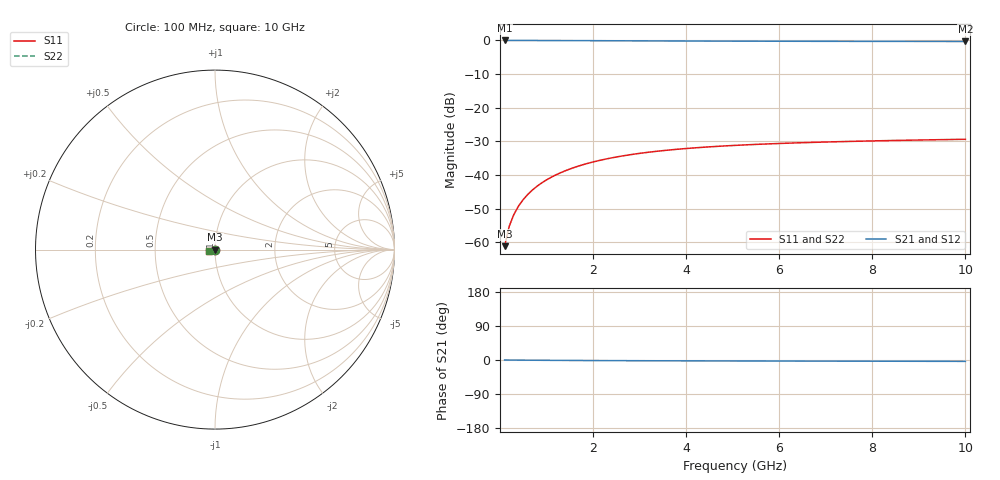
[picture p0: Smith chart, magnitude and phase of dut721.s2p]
! Touchstone file exported from HFSS 2024.1.0
!  File:  C:/UserFiles/LocalFiles/RDL_TSV_Batchsim/temp_TSV1_721_1779868303.aedt
!  Generated:  03:56:17 PM May 27, 2026
!  Design:  TSV1
!  Project:  temp_TSV1_721_1779868303
!  Setup:  Setup1
!  Solution:  Sweep
! Variables:
!  dtsv = 9.73um
!  hbump = 3um
!  htsv = 54.42um
!  lrdl = 252.1521522um
!  p = 40
!  p1 = 40.71um
!  t = 500um
!  trdl = 3um
!  wrdl = 24.89489489um
# GHz S MA R 50.000000
! Terminal data exported
! Port[1] = TSV22_T1
! Port[2] = TSV22_T2
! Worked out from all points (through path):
!   100 points, 100 MHz to 10 GHz, reference 50 ohm
!   highest |S21| = 0.00 dB at 100 MHz (marker M1); lowest = -0.3 dB at 10 GHz (marker M2)
!   lowest |S11| = -61.1 dB at 100 MHz (marker M3), VSWR 1.00, Z = 50 - j0.0876 ohm
!   |S11| at or under -10 dB: start of sweep to end of sweep
!   |S22| runs from -61.1 to -29.4 dB; largest |S21 - S12| = 4.2e-15
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0.1  0.0008815 -83.3  0.9998 -0.1  0.9998 -0.1  0.0008815 -83.3
! Gamma 0 0 0 0
! Port Impedance 50 0 50 0
0.2  0.001748 -89.0  0.9998 -0.2  0.9998 -0.2  0.001748 -89.0
0.3  0.002615 -92.0  0.9996 -0.3  0.9996 -0.3  0.002615 -92.0
0.4  0.003479 -94.3  0.9995 -0.3  0.9995 -0.3  0.003479 -94.3
0.5  0.004338 -96.2  0.9992 -0.4  0.9992 -0.4  0.004338 -96.2
0.6  0.00519 -98.1  0.999 -0.5  0.999 -0.5  0.00519 -98.1
0.7  0.006034 -99.8  0.9987 -0.6  0.9987 -0.6  0.006034 -99.8
0.8  0.006867 -101.4  0.9983 -0.7  0.9983 -0.7  0.006867 -101.4
0.9  0.007689 -103.0  0.9979 -0.7  0.9979 -0.7  0.007689 -103.0
1.1  0.009293 -106.1  0.997 -0.9  0.997 -0.9  0.009293 -106.1
1.4  0.01158 -110.4  0.9955 -1.1  0.9955 -1.1  0.01158 -110.4
1.6  0.01303 -113.2  0.9944 -1.2  0.9944 -1.2  0.01303 -113.2
1.8  0.01439 -115.9  0.9933 -1.3  0.9933 -1.3  0.01439 -115.8
2.1  0.0163 -119.6  0.9915 -1.5  0.9915 -1.5  0.0163 -119.6
2.5  0.01859 -124.3  0.9891 -1.7  0.9891 -1.7  0.01859 -124.3
2.9  0.02059 -128.6  0.9867 -1.9  0.9867 -1.9  0.02059 -128.6
3.4  0.02272 -133.4  0.984 -2.0  0.984 -2.0  0.02272 -133.4
4.2  0.02546 -140.0  0.98 -2.3  0.98 -2.3  0.02546 -140.0
5.1  0.02776 -146.2  0.9764 -2.5  0.9764 -2.5  0.02776 -146.2
6.7  0.03061 -154.9  0.9715 -2.9  0.9715 -2.9  0.03061 -154.9
8.4  0.03265 -162.0  0.968 -3.3  0.968 -3.3  0.03265 -162.0
10  0.03406 -167.6  0.9656 -3.6  0.9656 -3.6  0.03406 -167.6
